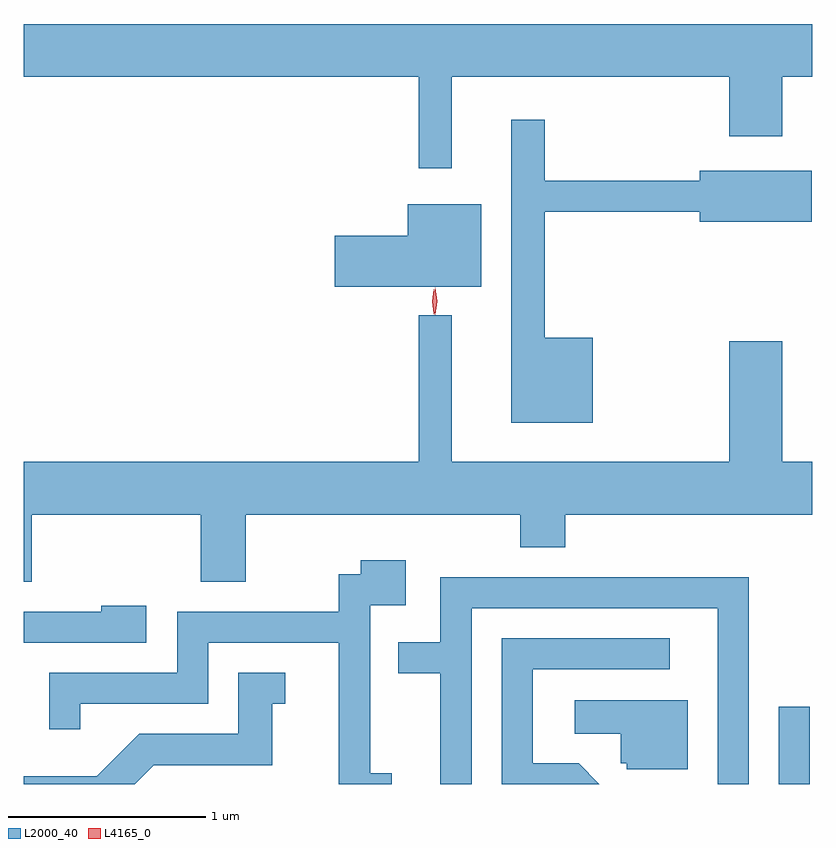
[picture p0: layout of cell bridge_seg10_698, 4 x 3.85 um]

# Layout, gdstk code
import gdstk
lib = gdstk.Library(unit=1e-6, precision=1e-09)
def R(c, l, rs):  # rectangles x0, y0, x1, y1
    for r in rs: c.add(gdstk.rectangle(r[:2], r[2:], *l))
def P(c, l, *ps):  # polygons
    for p in ps: c.add(gdstk.Polygon(p, *l))
L2000_40 = (2000, 40)
L4165_0 = (4165, 0)

bridge_seg10_698 = lib.new_cell('bridge_seg10_698')
R(bridge_seg10_698, L2000_40, [(914.626,2121.43,914.784,2121.823)])
P(bridge_seg10_698, L2000_40, [(912.969,2125.016),(914.376,2125.016),(914.376,2124.716),(914.644,2124.716),(914.644,2125.016),(914.797,2125.016),(914.797,2125.284),(910.797,2125.284),(910.797,2125.016),(912.801,2125.016),(912.801,2124.553),(912.969,2124.553)],
  [(913.684,2123.694),(913.439,2123.694),(913.439,2124.331),(914.226,2124.331),(914.226,2124.281),(914.794,2124.281),(914.794,2124.539),(914.226,2124.539),(914.226,2124.489),(913.439,2124.489),(913.439,2124.798),(913.271,2124.798),(913.271,2123.261),(913.684,2123.261)],
  [(913.119,2124.369),(912.746,2124.369),(912.746,2124.209),(912.376,2124.209),(912.376,2123.951),(913.119,2123.951)],
  [(910.839,2122.796),(911.696,2122.796),(911.696,2122.456),(911.924,2122.456),(911.924,2122.796),(913.316,2122.796),(913.316,2122.631),(913.544,2122.631),(913.544,2122.796),(914.797,2122.796),(914.797,2123.064),(914.644,2123.064),(914.644,2123.674),(914.376,2123.674),(914.376,2123.064),(912.969,2123.064),(912.969,2123.808),(912.801,2123.808),(912.801,2123.064),(910.797,2123.064),(910.797,2122.456),(910.839,2122.456)],
  [(912.664,2121.484),(912.554,2121.484),(912.554,2122.336),(912.734,2122.336),(912.734,2122.564),(912.506,2122.564),(912.506,2122.494),(912.396,2122.494),(912.396,2122.304),(911.576,2122.304),(911.576,2121.994),(910.926,2121.994),(910.926,2121.708),(911.084,2121.708),(911.084,2121.836),(911.734,2121.836),(911.734,2122.146),(912.396,2122.146),(912.396,2121.43),(912.664,2121.43)],
  [(913.069,2122.321),(914.316,2122.321),(914.316,2121.43),(914.474,2121.43),(914.474,2122.479),(912.911,2122.479),(912.911,2122.149),(912.698,2122.149),(912.698,2121.991),(912.911,2121.991),(912.911,2121.43),(913.069,2121.43)],
  [(911.419,2122.334),(911.191,2122.334),(911.191,2122.304),(910.797,2122.304),(910.797,2122.146),(911.419,2122.146)],
  [(913.612,2121.534),(913.379,2121.534),(913.379,2122.011),(914.073,2122.011),(914.073,2122.169),(913.221,2122.169),(913.221,2121.43),(913.716,2121.43)],
  [(911.457,2121.526),(912.059,2121.526),(912.059,2121.836),(912.123,2121.836),(912.123,2121.994),(911.886,2121.994),(911.886,2121.684),(911.384,2121.684),(911.169,2121.469),(910.797,2121.469),(910.797,2121.43),(911.361,2121.43)],
  [(914.164,2121.854),(913.593,2121.854),(913.593,2121.686),(913.826,2121.686),(913.826,2121.536),(913.856,2121.536),(913.856,2121.506),(914.164,2121.506)])
P(bridge_seg10_698, L4165_0, [(912.879,2123.813),(912.878,2123.814),(912.868,2123.876),(912.878,2123.939),(912.878,2123.94),(912.878,2123.939),(912.888,2123.876),(912.879,2123.814)],
  [(912.884,2123.81),(912.875,2123.878),(912.884,2123.946),(912.884,2123.946),(912.885,2123.946),(912.894,2123.878),(912.885,2123.81),(912.885,2123.81)])

lib.write_gds('bridge_seg10_698.gds')
